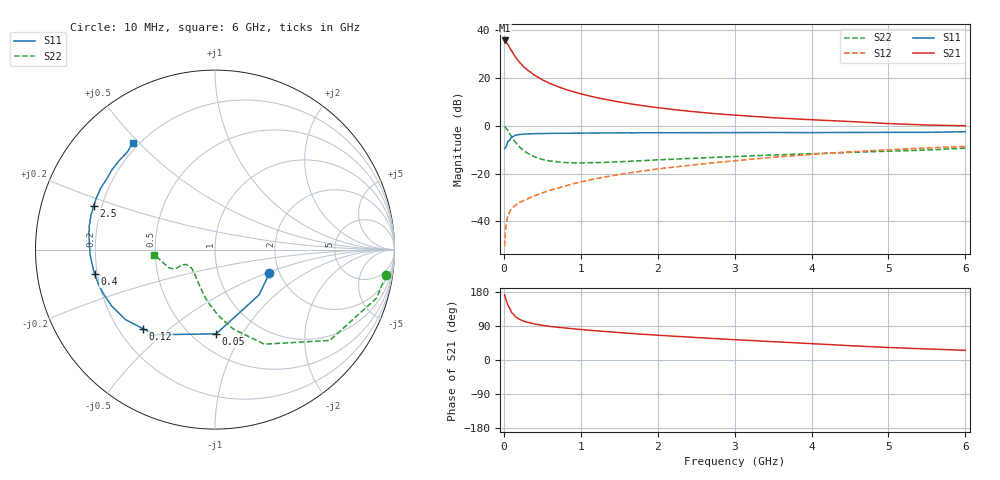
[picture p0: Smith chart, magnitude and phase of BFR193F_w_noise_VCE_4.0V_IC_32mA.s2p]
! Infineon Technologies  Discrete & RF Semiconductors
! BFR193F
! VCE =  4.0 V,  IC =  32 mA
! Common Emitter S-Parameters:  Jan 2017
# GHz  S  MA  R  50
!  f  S11  S21  S12  S22
! GHz  MAG  ANG  MAG  ANG  MAG  ANG  MAG  ANG
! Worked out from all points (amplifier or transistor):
!   77 points, 10 MHz to 6 GHz, reference 50 ohm
!   highest |S21| = 35.8 dB at 10 MHz (marker M1)
!   |S21| within 3 dB of that: start of sweep to 75.82 MHz
!   unconditionally stable (mu >= 1): 1.044 GHz to 2.643 GHz
!   at 130 MHz: K = 0.40, MSG = 31.9 dB, |S12| = -33.9 dB
!   at 2.2 GHz: K = 1.02, MAG = 11.2 dB, |S12| = -17.3 dB
!   at 6 GHz: K = 0.86, MSG = 4.3 dB, |S12| = -8.6 dB
!   lowest NFmin = 1.21 dB at 450 MHz
!   S11 on the Smith chart (normalised r, x): 10 MHz: 1.77, -0.52; 50 MHz: 0.65, -0.78; 120 MHz: 0.30, -0.41; 400 MHz: 0.19, -0.10; 2.5 GHz: 0.17, +0.17; 6 GHz: 0.18, +0.48
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0.01  0.3307 -23.4  61.48 172.4  0.003 88.3  0.9632 -8.5
0.02  0.3521 -46.0  59.93 164.6  0.006 78.0  0.9399 -16.7
0.05  0.4692 -89.2  51.62 145.6  0.0126 65.6  0.8153 -38.4
0.1  0.581 -125.2  37.25 125.3  0.0186 53.6  0.594 -62.5
0.12  0.5955 -132.2  33.31 121.7  0.0197 51.8  0.5331 -67.5
0.15  0.6328 -141.9  27.73 114.4  0.0214 49.4  0.4518 -77.3
0.2  0.6567 -151.6  21.75 107.6  0.0246 49.7  0.3669 -87.3
0.25  0.6678 -158.1  17.77 103.1  0.0267 50.8  0.3072 -95.4
0.3  0.6763 -162.5  15.02 99.8  0.029 52.4  0.2715 -101.7
0.4  0.6848 -168.5  11.43 94.9  0.0341 56.9  0.2228 -112.1
0.5  0.6882 -172.4  9.216 91.6  0.0391 59.9  0.1971 -119.9
0.6  0.6927 -175.5  7.726 88.7  0.0447 61.7  0.1827 -126.5
0.7  0.6972 -178.2  6.644 86.3  0.0494 64.3  0.175 -131.7
0.9  0.7013 178.0  5.192 82.4  0.061 67.2  0.1672 -139.8
1.1  0.7042 175.0  4.27 78.7  0.0723 69.0  0.169 -144.7
1.5  0.7122 169.9  3.16 72.4  0.095 71.0  0.1769 -151.1
2.1  0.7169 163.6  2.296 64.2  0.1303 71.5  0.1965 -154.6
2.5  0.7189 160.2  1.957 59.4  0.1537 71.1  0.2096 -154.8
3.1  0.721 155.0  1.634 52.6  0.1913 70.3  0.2303 -154.2
4.1  0.7209 146.1  1.318 42.1  0.2579 66.4  0.2628 -156.4
5.1  0.7288 136.2  1.097 32.3  0.3199 60.9  0.2968 -165.6
6  0.7502 127.7  1.003 25.5  0.3701 55.6  0.3404 -175.0
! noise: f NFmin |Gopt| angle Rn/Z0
0.45  1.21  0.4  177  0.06
0.9  1.3  0.43  177  0.07
1.9  1.86  0.58  -167  0.07
2.4  2.15  0.61  -158  0.12
